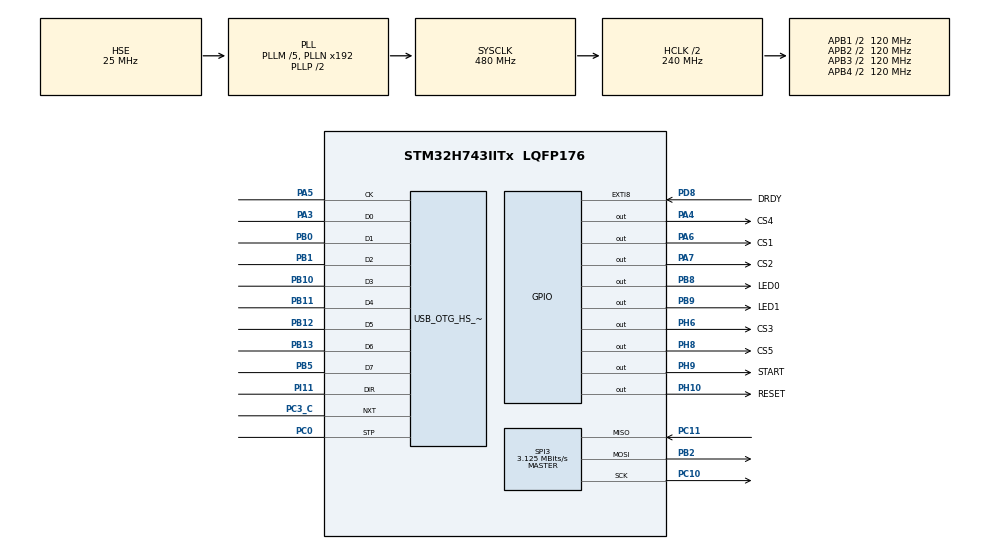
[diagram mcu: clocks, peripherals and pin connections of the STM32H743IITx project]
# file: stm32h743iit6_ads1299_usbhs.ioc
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FREERTOS.BinarySemaphores01=DATA_READY,Dynamic,NULL
FREERTOS.Events01=event,Dynamic,NULL
FREERTOS.INCLUDE_xEventGroupSetBitFromISR=1
FREERTOS.Tasks01=defaultTask,24,128,StartDefaultTask,Default,NULL,Dynamic,NULL,NULL;data_read,8,512,data_read_func,Default,NULL,Dynamic,NULL,NULL;all_reg_read,8,512,reg_read_func,Default,NULL,Dynamic,NULL,NULL;data_send,8,512,data_send_func,Default,NULL,Dynamic,NULL,NULL
Mcu.Family=STM32H7
Mcu.Name=STM32H743IITx
Mcu.Package=LQFP176
NVIC.EXTI9_5_IRQn=true\:5\:0\:true\:false\:true\:true\:true\:true\:true
NVIC.OTG_HS_IRQn=true\:5\:0\:false\:false\:true\:true\:false\:true\:true
NVIC.PriorityGroup=NVIC_PRIORITYGROUP_4
NVIC.TIM1_UP_IRQn=true\:15\:0\:false\:false\:true\:false\:false\:true\:true
NVIC.TIM6_DAC_IRQn=true\:5\:0\:false\:false\:true\:true\:true\:true\:true
NVIC.TimeBase=TIM1_UP_IRQn
NVIC.TimeBaseIP=TIM1
PA3.Mode=Device_HS
PA3.Signal=USB_OTG_HS_ULPI_D0
PA4.GPIO_Label=CS4
PA4.GPIO_PuPd=GPIO_PULLDOWN
PA4.GPIO_Speed=GPIO_SPEED_FREQ_HIGH
PA4.PinState=GPIO_PIN_SET
PA4.Signal=GPIO_Output
PA5.Mode=Device_HS
PA5.Signal=USB_OTG_HS_ULPI_CK
PA6.GPIO_Label=CS1
PA6.GPIO_PuPd=GPIO_PULLDOWN
PA6.GPIO_Speed=GPIO_SPEED_FREQ_HIGH
PA6.PinState=GPIO_PIN_SET
PA6.Signal=GPIO_Output
PA7.GPIO_Label=CS2
PA7.GPIO_ModeDefaultOutputPP=GPIO_MODE_OUTPUT_PP
PA7.GPIO_PuPd=GPIO_PULLDOWN
PA7.GPIO_Speed=GPIO_SPEED_FREQ_HIGH
PA7.PinState=GPIO_PIN_SET
PA7.Signal=GPIO_Output
PB0.Mode=Device_HS
PB0.Signal=USB_OTG_HS_ULPI_D1
PB1.Mode=Device_HS
PB1.Signal=USB_OTG_HS_ULPI_D2
PB10.Mode=Device_HS
PB10.Signal=USB_OTG_HS_ULPI_D3
PB11.Mode=Device_HS
PB11.Signal=USB_OTG_HS_ULPI_D4
PB12.Mode=Device_HS
PB12.Signal=USB_OTG_HS_ULPI_D5
PB13.Mode=Device_HS
PB13.Signal=USB_OTG_HS_ULPI_D6
PB2.GPIO_PuPd=GPIO_PULLDOWN
PB2.GPIO_Speed=GPIO_SPEED_FREQ_VERY_HIGH
PB2.Mode=Full_Duplex_Master
PB2.Signal=SPI3_MOSI
PB5.Mode=Device_HS
PB5.Signal=USB_OTG_HS_ULPI_D7
PB8.GPIO_Label=LED0
PB8.GPIO_PuPd=GPIO_PULLUP
PB8.GPIO_Speed=GPIO_SPEED_FREQ_HIGH
PB8.PinState=GPIO_PIN_SET
PB8.Signal=GPIO_Output
PB9.GPIO_Label=LED1
PB9.GPIO_PuPd=GPIO_PULLDOWN
PB9.GPIO_Speed=GPIO_SPEED_FREQ_HIGH
PB9.PinState=GPIO_PIN_SET
PB9.Signal=GPIO_Output
PC0.Mode=Device_HS
PC0.Signal=USB_OTG_HS_ULPI_STP
PC10.GPIO_PuPd=GPIO_PULLDOWN
PC10.GPIO_Speed=GPIO_SPEED_FREQ_VERY_HIGH
PC10.Mode=Full_Duplex_Master
PC10.Signal=SPI3_SCK
PC11.GPIO_PuPd=GPIO_PULLDOWN
PC11.GPIO_Speed=GPIO_SPEED_FREQ_VERY_HIGH
PC11.Mode=Full_Duplex_Master
PC11.Signal=SPI3_MISO
PC14-OSC32_IN\ (OSC32_IN).Mode=LSE-External-Oscillator
PC14-OSC32_IN\ (OSC32_IN).Signal=RCC_OSC32_IN
PC15-OSC32_OUT\ (OSC32_OUT).Mode=LSE-External-Oscillator
PC15-OSC32_OUT\ (OSC32_OUT).Signal=RCC_OSC32_OUT
PC3_C.Mode=Device_HS
PC3_C.Signal=USB_OTG_HS_ULPI_NXT
PD8.GPIO_Label=DRDY
PD8.GPIO_ModeDefaultEXTI=GPIO_MODE_IT_FALLING
PD8.GPIO_PuPd=GPIO_PULLUP
PD8.Signal=GPXTI8
PH0-OSC_IN\ (PH0).Mode=HSE-External-Oscillator
PH0-OSC_IN\ (PH0).Signal=RCC_OSC_IN
PH1-OSC_OUT\ (PH1).Mode=HSE-External-Oscillator
PH1-OSC_OUT\ (PH1).Signal=RCC_OSC_OUT
PH10.GPIO_Label=RESET
PH10.GPIO_PuPd=GPIO_PULLDOWN
PH10.GPIO_Speed=GPIO_SPEED_FREQ_HIGH
PH10.PinState=GPIO_PIN_SET
PH10.Signal=GPIO_Output
PH6.GPIO_Label=CS3
PH6.GPIO_PuPd=GPIO_PULLDOWN
PH6.GPIO_Speed=GPIO_SPEED_FREQ_HIGH
PH6.PinState=GPIO_PIN_SET
PH6.Signal=GPIO_Output
PH8.GPIO_Label=CS5
PH8.GPIO_PuPd=GPIO_PULLDOWN
PH8.GPIO_Speed=GPIO_SPEED_FREQ_HIGH
PH8.PinState=GPIO_PIN_SET
PH8.Signal=GPIO_Output
PH9.GPIO_Label=START
PH9.GPIO_PuPd=GPIO_PULLDOWN
PH9.GPIO_Speed=GPIO_SPEED_FREQ_HIGH
PH9.PinState=GPIO_PIN_RESET
PH9.Signal=GPIO_Output
PI11.Mode=Device_HS
PI11.Signal=USB_OTG_HS_ULPI_DIR
ProjectManager.HeapSize=0x400
ProjectManager.StackSize=0x400
ProjectManager.TargetToolchain=Makefile
RCC.ADCFreq_Value=200000000
RCC.APB1Freq_Value=120000000
RCC.APB2Freq_Value=120000000
RCC.APB3Freq_Value=120000000
RCC.APB4Freq_Value=120000000
RCC.CortexFreq_Value=480000000
RCC.D1PPRE=RCC_APB3_DIV2
RCC.D2PPRE1=RCC_APB1_DIV2
RCC.D2PPRE2=RCC_APB2_DIV2
RCC.D3PPRE=RCC_APB4_DIV2
RCC.DIVM1=5
RCC.DIVM2=5
RCC.DIVN1=192
RCC.DIVN2=160
RCC.DIVP2=4
RCC.DIVQ1=16
RCC.HCLKFreq_Value=240000000
RCC.HPRE=RCC_HCLK_DIV2
RCC.PLLSourceVirtual=RCC_PLLSOURCE_HSE
RCC.SPI123CLockSelection=RCC_SPI123CLKSOURCE_PLL2
RCC.SYSCLKFreq_VALUE=480000000
RCC.SYSCLKSource=RCC_SYSCLKSOURCE_PLLCLK
RCC.USBFreq_Value=60000000
SPI3.BaudRatePrescaler=SPI_BAUDRATEPRESCALER_64
SPI3.CLKPhase=SPI_PHASE_2EDGE
SPI3.CalculateBaudRate=3.125 MBits/s
SPI3.DataSize=SPI_DATASIZE_8BIT
SPI3.Direction=SPI_DIRECTION_2LINES
SPI3.Mode=SPI_MODE_MASTER
SPI3.VirtualType=VM_MASTER
TIM6.AutoReloadPreload=TIM_AUTORELOAD_PRELOAD_ENABLE
TIM6.Prescaler=240-1
USB_DEVICE.CLASS_NAME_HS=CUSTOM_HID
USB_DEVICE.VirtualMode-CUSTOM_HID_HS=CustomHid
USB_DEVICE.VirtualModeHS=Custom_Hid_HS
USB_OTG_HS.VirtualMode-Device_HS=Device_HS
VP_FREERTOS_VS_CMSIS_V2.Mode=CMSIS_V2
VP_SYS_VS_tim1.Mode=TIM1
VP_TIM6_VS_ClockSourceINT.Mode=Enable_Timer
VP_USB_DEVICE_VS_USB_DEVICE_CUSTOM_HID_HS.Mode=CUSTOM_HID_HS
board=custom

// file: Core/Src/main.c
#include "main.h"
#include "cmsis_os.h"
#include "spi.h"
#include "tim.h"
#include "usb_device.h"
#include "gpio.h"

/* USER CODE BEGIN Includes */
#include <ads1299.h>
#include <usbd_custom_hid_if.h>
#include <tim.h>
/* USER CODE END Includes */

void SystemClock_Config(void);

void MX_FREERTOS_Init(void);

/* USER CODE BEGIN 0 */
int itr_num = 0;
const uint8_t ITR_EVENT = 0x01 << 0;   // 设置事件掩码的位 0
const uint8_t CMD_EVENT = 0x01 << 1;   // 设置事件掩码的位 1
const uint8_t REG_EVENT = 0x01 << 2;   // 设置事件掩码的位 2
const uint8_t READY_EVENT = 0x01 << 3; // 设置事件掩码的位 3
const uint8_t SELF_TEST_EVENT = 0X01 << 4;
const uint8_t NORMAL_SIG_EVENT = 0X01 << 5;
/* USER CODE END 0 */

int main(void)
{

	/* MCU Configuration--------------------------------------------------------*/

	/* Reset of all peripherals, Initializes the Flash interface and the Systick. */
	HAL_Init();

	/* Configure the system clock */
	SystemClock_Config();

	/* Initialize all configured peripherals */
	MX_GPIO_Init();
	MX_SPI3_Init();
	MX_TIM6_Init();
	/* USER CODE BEGIN 2 */
	HAL_GPIO_WritePin(LED1_GPIO_Port, LED1_Pin, GPIO_PIN_RESET);
	HAL_Delay(1000);
	ads1299_check_init();
	HAL_Delay(500);
	HAL_GPIO_WritePin(LED1_GPIO_Port, LED1_Pin, GPIO_PIN_SET);

	HAL_GPIO_WritePin(START_GPIO_Port, START_Pin, GPIO_PIN_RESET);
	HAL_Delay(500);
	HAL_GPIO_WritePin(START_GPIO_Port, START_Pin, GPIO_PIN_SET);

	/* USER CODE END 2 */

	/* Init scheduler */
	osKernelInitialize(); /* Call init function for freertos objects (in freertos.c) */
	MX_FREERTOS_Init();
	/* Start scheduler */
	osKernelStart();

	/* We should never get here as control is now taken by the scheduler */
	/* Infinite loop */
	while (1)
	{

	}
}

void SystemClock_Config(void)
{
	RCC_OscInitTypeDef RCC_OscInitStruct = {0};
	RCC_ClkInitTypeDef RCC_ClkInitStruct = {0};

	/** Supply configuration update enable
	 */
	HAL_PWREx_ConfigSupply(PWR_LDO_SUPPLY);
	/** Configure the main internal regulator output voltage
	 */
	__HAL_PWR_VOLTAGESCALING_CONFIG(PWR_REGULATOR_VOLTAGE_SCALE0);

	while (!__HAL_PWR_GET_FLAG(PWR_FLAG_VOSRDY))
	{
	}
	/** Macro to configure the PLL clock source
	 */
	__HAL_RCC_PLL_PLLSOURCE_CONFIG(RCC_PLLSOURCE_HSE);
	/** Initializes the RCC Oscillators according to the specified parameters
	 * in the RCC_OscInitTypeDef structure.
	 */
	RCC_OscInitStruct.OscillatorType = RCC_OSCILLATORTYPE_HSE;
	RCC_OscInitStruct.HSEState = RCC_HSE_ON;
	RCC_OscInitStruct.PLL.PLLState = RCC_PLL_ON;
	RCC_OscInitStruct.PLL.PLLSource = RCC_PLLSOURCE_HSE;
	RCC_OscInitStruct.PLL.PLLM = 5;
	RCC_OscInitStruct.PLL.PLLN = 192;
	RCC_OscInitStruct.PLL.PLLP = 2;
	RCC_OscInitStruct.PLL.PLLQ = 16;
	RCC_OscInitStruct.PLL.PLLR = 2;
	RCC_OscInitStruct.PLL.PLLRGE = RCC_PLL1VCIRANGE_2;
	RCC_OscInitStruct.PLL.PLLVCOSEL = RCC_PLL1VCOWIDE;
	RCC_OscInitStruct.PLL.PLLFRACN = 0;
	if (HAL_RCC_OscConfig(&RCC_OscInitStruct) != HAL_OK)
	{
		Error_Handler();
	}
	/** Initializes the CPU, AHB and APB buses clocks
	 */
	RCC_ClkInitStruct.ClockType = RCC_CLOCKTYPE_HCLK | RCC_CLOCKTYPE_SYSCLK | RCC_CLOCKTYPE_PCLK1 | RCC_CLOCKTYPE_PCLK2 | RCC_CLOCKTYPE_D3PCLK1 | RCC_CLOCKTYPE_D1PCLK1;
	RCC_ClkInitStruct.SYSCLKSource = RCC_SYSCLKSOURCE_PLLCLK;
	RCC_ClkInitStruct.SYSCLKDivider = RCC_SYSCLK_DIV1;
	RCC_ClkInitStruct.AHBCLKDivider = RCC_HCLK_DIV2;
	RCC_ClkInitStruct.APB3CLKDivider = RCC_APB3_DIV2;
	RCC_ClkInitStruct.APB1CLKDivider = RCC_APB1_DIV2;
	RCC_ClkInitStruct.APB2CLKDivider = RCC_APB2_DIV2;
	RCC_ClkInitStruct.APB4CLKDivider = RCC_APB4_DIV2;

	if (HAL_RCC_ClockConfig(&RCC_ClkInitStruct, FLASH_LATENCY_4) != HAL_OK)
	{
		Error_Handler();
	}
}

void HAL_TIM_PeriodElapsedCallback(TIM_HandleTypeDef *htim)
{
	if (htim->Instance == TIM1)
	{
		HAL_IncTick();
	}
}

void Error_Handler(void)
{
	__disable_irq();
	while (1)
	{
	}
}

/************************ (C) COPYRIGHT STMicroelectronics *****END OF FILE****/

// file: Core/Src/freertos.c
/* USER CODE BEGIN Header */
/**
 ******************************************************************************
 * File Name          : freertos.c
 * Description        : Code for freertos applications
 ******************************************************************************
 * @attention
 *
 * <h2><center>&copy; Copyright (c) 2022 STMicroelectronics.
 * All rights reserved.</center></h2>
 *
 * This software component is licensed by ST under Ultimate Liberty license
 * SLA0044, the "License"; You may not use this file except in compliance with
 * the License. You may obtain a copy of the License at:
 *                             www.st.com/SLA0044
 *
 ******************************************************************************
 */
/* USER CODE END Header */

#include <tim.h>
#include "FreeRTOS.h"
#include "task.h"
#include "main.h"
#include "cmsis_os.h"

/* USER CODE BEGIN Includes */
#include "gpio.h"
#include "spi.h"
#include "ads1299.h"
#include "usbd_custom_hid_if.h"

/* USER CODE END Includes */

/* USER CODE BEGIN PTD */

/* CRC校验开关*/
#define _CRC_ 1

/* USER CODE END PTD */

/* USER CODE BEGIN PD */
extern const uint8_t ITR_EVENT;   // 璁剧疆浜嬩欢鎺╃爜鐨勪綅 0
extern const uint8_t CMD_EVENT;   // 璁剧疆浜嬩欢鎺╃爜鐨勪綅 1
extern const uint8_t REG_EVENT;   // 璁剧疆浜嬩欢鎺╃爜鐨勪綅 2
extern const uint8_t READY_EVENT; // 璁剧疆浜嬩欢鎺╃爜鐨勪綅 3
extern const uint8_t SELF_TEST_EVENT;
extern const uint8_t NORMAL_SIG_EVENT;

extern USBD_HandleTypeDef hUsbDeviceHS;
extern int itr_num;
int buffer_select_flag = 0;
const int itr_num_max = 25;

/* 存储buffer定义 */
#if _CRC_
const int send_max_size =
    (40 * 3 + 5 * 3) * itr_num_max + 1; // 40*3*itr_num_max 是数据   5*3是电极脱落检测 /* 最后一位为CRC校验码*/
uint8_t data_save_a[(40 * 3 + 5 * 3) * 25 + 1] = {0};
uint8_t data_save_b[(40 * 3 + 5 * 3) * 25 + 1] = {0};
#else
const int send_max_size = (40 * 3 + 5 * 3) * itr_num_max;
uint8_t data_save_a[(40 * 3 + 5 * 3) * 25] = {0};
uint8_t data_save_b[(40 * 3 + 5 * 3) * 25] = {0};
#endif

uint8_t send1[3] = {0XAA, 0XAA, 0XAA};
uint8_t send2[24] = {0};
/* USER CODE END PD */

/* Definitions for defaultTask */
osThreadId_t defaultTaskHandle;
const osThreadAttr_t defaultTask_attributes = {
    .name = "defaultTask",
    .stack_size = 128 * 4,
    .priority = (osPriority_t)osPriorityNormal,
};
/* Definitions for data_read */
osThreadId_t data_readHandle;
const osThreadAttr_t data_read_attributes = {
    .name = "data_read",
    .stack_size = 512 * 4,
    .priority = (osPriority_t)osPriorityLow,
};
/* Definitions for all_reg_read */
osThreadId_t all_reg_readHandle;
const osThreadAttr_t all_reg_read_attributes = {
    .name = "all_reg_read",
    .stack_size = 512 * 4,
    .priority = (osPriority_t)osPriorityLow,
};
/* Definitions for data_send */
osThreadId_t data_sendHandle;
const osThreadAttr_t data_send_attributes = {
    .name = "data_send",
    .stack_size = 512 * 4,
    .priority = (osPriority_t)osPriorityLow,
};
/* Definitions for self_test */
osThreadId_t self_testHandle;
const osThreadAttr_t self_test_attributes = {
    .name = "self_test",
    .stack_size = 128 * 4,
    .priority = (osPriority_t)osPriorityLow,
};
/* Definitions for normal_sig */
osThreadId_t normal_sigHandle;
const osThreadAttr_t normal_sig_attributes = {
    .name = "normal_sig",
    .stack_size = 128 * 4,
    .priority = (osPriority_t)osPriorityLow,
};
/* Definitions for DATA_READY */
osSemaphoreId_t DATA_READYHandle;
const osSemaphoreAttr_t DATA_READY_attributes = {
    .name = "DATA_READY"};
/* Definitions for event */
osEventFlagsId_t eventHandle;
const osEventFlagsAttr_t event_attributes = {
    .name = "event"};

_Noreturn void StartDefaultTask(void *argument);

_Noreturn void data_read_func(void *argument);

_Noreturn void reg_read_func(void *argument);

_Noreturn void data_send_func(void *argument);

_Noreturn void self_test_func(void *argument);

_Noreturn void normal_sig_func(void *argument);

extern void MX_USB_DEVICE_Init(void);

void MX_FREERTOS_Init(void); /* (MISRA C 2004 rule 8.1) */

void MX_FREERTOS_Init(void)
{

    /* Create the semaphores(s) */
    /* creation of DATA_READY */
    DATA_READYHandle = osSemaphoreNew(1, 1, &DATA_READY_attributes);

    /* Create the thread(s) */
    /* creation of defaultTask */
    defaultTaskHandle = osThreadNew(StartDefaultTask, NULL, &defaultTask_attributes);

    /* creation of data_read */
    data_readHandle = osThreadNew(data_read_func, NULL, &data_read_attributes);

    /* creation of all_reg_read */
    all_reg_readHandle = osThreadNew(reg_read_func, NULL, &all_reg_read_attributes);

    /* creation of data_send */
    data_sendHandle = osThreadNew(data_send_func, NULL, &data_send_attributes);

    /* creation of self_test */
    self_testHandle = osThreadNew(self_test_func, NULL, &self_test_attributes);

    /* creation of normal_sig */
    normal_sigHandle = osThreadNew(normal_sig_func, NULL, &normal_sig_attributes);

    /* Create the event(s) */
    /* creation of event */
    eventHandle = osEventFlagsNew(&event_attributes);

}

_Noreturn void StartDefaultTask(void *argument)
{
    /* init code for USB_DEVICE */
    MX_USB_DEVICE_Init();
    /* USER CODE BEGIN StartDefaultTask */
    /* Infinite loop */
    for (;;)
    {
        osDelay(2000);
    }
    /* USER CODE END StartDefaultTask */
}

_Noreturn void data_read_func(void *argument)
{
    /* USER CODE BEGIN data_read_func */
    /* Infinite loop */
    for (;;)
    {
        osEventFlagsWait(eventHandle, ITR_EVENT | CMD_EVENT, osFlagsNoClear | osFlagsWaitAll, osWaitForever);
        osEventFlagsClear(eventHandle, ITR_EVENT);

        if (buffer_select_flag == 0)
        {
            CS_LOW(1);
            HAL_SPI_TransmitReceive(&hspi3, send1, data_save_a + 135 * itr_num, 3, 100);
            HAL_SPI_TransmitReceive(&hspi3, send2, data_save_a + 15 + 135 * itr_num, 24, 100);
            CS_HIGH(1);

            CS_LOW(2);
            HAL_SPI_TransmitReceive(&hspi3, send1, data_save_a + 3 + 135 * itr_num, 3, 100);
            HAL_SPI_TransmitReceive(&hspi3, send2, data_save_a + 15 + 24 + 135 * itr_num, 24, 100);
            CS_HIGH(2);

            CS_LOW(3);
            HAL_SPI_TransmitReceive(&hspi3, send1, data_save_a + 6 + 135 * itr_num, 3, 100);
            HAL_SPI_TransmitReceive(&hspi3, send2, data_save_a + 15 + 48 + 135 * itr_num, 24, 100);
            CS_HIGH(3);

            CS_LOW(4);
            HAL_SPI_TransmitReceive(&hspi3, send1, data_save_a + 9 + 135 * itr_num, 3, 100);
            HAL_SPI_TransmitReceive(&hspi3, send2, data_save_a + 15 + 72 + 135 * itr_num, 24, 100);
            CS_HIGH(4);

            CS_LOW(5);
            HAL_SPI_TransmitReceive(&hspi3, send1, data_save_a + 12 + 135 * itr_num, 3, 100);
            HAL_SPI_TransmitReceive(&hspi3, send2, data_save_a + 15 + 96 + 135 * itr_num, 24, 100);
            CS_HIGH(5);

            itr_num++;

            if (itr_num == itr_num_max)
            {
#if _CRC_
                data_save_a[3375] = calcCRC(data_save_a, 3375);
#endif
                itr_num = 0;
                buffer_select_flag = 1;
                osEventFlagsSet(eventHandle, READY_EVENT);
            }
        }
        else
        {
            CS_LOW(1);
            HAL_SPI_TransmitReceive(&hspi3, send1, data_save_b + 135 * itr_num, 3, 100);
            HAL_SPI_TransmitReceive(&hspi3, send2, data_save_b + 15 + 135 * itr_num, 24, 100);
            CS_HIGH(1);

            CS_LOW(2);
            HAL_SPI_TransmitReceive(&hspi3, send1, data_save_b + 3 + 135 * itr_num, 3, 100);
            HAL_SPI_TransmitReceive(&hspi3, send2, data_save_b + 15 + 24 + 135 * itr_num, 24, 100);
            CS_HIGH(2);

            CS_LOW(3);
            HAL_SPI_TransmitReceive(&hspi3, send1, data_save_b + 6 + 135 * itr_num, 3, 100);
            HAL_SPI_TransmitReceive(&hspi3, send2, data_save_b + 15 + 48 + 135 * itr_num, 24, 100);
            CS_HIGH(3);

            CS_LOW(4);
            HAL_SPI_TransmitReceive(&hspi3, send1, data_save_b + 9 + 135 * itr_num, 3, 100);
            HAL_SPI_TransmitReceive(&hspi3, send2, data_save_b + 15 + 72 + 135 * itr_num, 24, 100);
            CS_HIGH(4);

            CS_LOW(5);
            HAL_SPI_TransmitReceive(&hspi3, send1, data_save_b + 12 + 135 * itr_num, 3, 100);
            HAL_SPI_TransmitReceive(&hspi3, send2, data_save_b + 15 + 96 + 135 * itr_num, 24, 100);
            CS_HIGH(5);

            itr_num++;

            if (itr_num == itr_num_max)
            {
#if _CRC_
                data_save_b[3375] = calcCRC(data_save_b, 3375);
#endif
                itr_num = 0;
                buffer_select_flag = 0;
                osEventFlagsSet(eventHandle, READY_EVENT);
            }
        }
    }
    /* USER CODE END data_read_func */
}

_Noreturn void reg_read_func(void *argument)
{
    /* USER CODE BEGIN reg_read_func */

    /* Infinite loop */
    for (;;)
    {
        osEventFlagsWait(eventHandle, REG_EVENT, osFlagsWaitAny, osWaitForever);
        for (int i = 1; i < 6; i++)
        {
            ads1299_send_cmd(ADS1299_SDATAC, i);
            HAL_Delay(1);
        }

        all_ads1299_reg_read();

        for (int i = 1; i < 6; i++)
        {
            ads1299_send_cmd(ADS1299_RDATAC, i);
            HAL_Delay(1);
        }
    }
    /* USER CODE END reg_read_func */
}

_Noreturn void data_send_func(void *argument)
{
    /* USER CODE BEGIN data_send_func */
    /* Infinite loop */
    for (;;)
    {
        osEventFlagsWait(eventHandle, READY_EVENT, osFlagsWaitAny, osWaitForever);
        if (buffer_select_flag == 0)
        {
            USBD_CUSTOM_HID_SendReport_HS(data_save_b, send_max_size);
        }
        else
        {
            USBD_CUSTOM_HID_SendReport_HS(data_save_a, send_max_size);
        }
    }
    /* USER CODE END data_send_func */
}

_Noreturn void self_test_func(void *argument)
{
    /* USER CODE BEGIN self_test_func */
    uint8_t reg_def = 0x65;
    /* Infinite loop */
    for (;;)
    {
        osEventFlagsWait(eventHandle, SELF_TEST_EVENT, osFlagsWaitAny, osWaitForever);
        for (int i = 1; i < 6; i++)
        {
            ads1299_send_cmd(ADS1299_SDATAC, i);
            HAL_Delay(1);
        }

        for (int j = 1; j < 6; j++)
        {
            for (int i = 0; i < 8; ++i)
            {
                ads1299_reg_write(0x05 + i, reg_def, j);
            }
        }

        for (int i = 1; i < 6; i++)
        {
            ads1299_send_cmd(ADS1299_RDATAC, i);
            HAL_Delay(1);
        }
    }
    /* USER CODE END self_test_func */
}

_Noreturn void normal_sig_func(void *argument)
{
    /* USER CODE BEGIN normal_sig_func */
    uint8_t normal_def = 0x60;
    /* Infinite loop */
    for (;;)
    {
        osEventFlagsWait(eventHandle, NORMAL_SIG_EVENT, osFlagsWaitAny, osWaitForever);
        for (int i = 1; i < 6; i++)
        {
            ads1299_send_cmd(ADS1299_SDATAC, i);
            HAL_Delay(1);
        }

        for (int j = 1; j < 6; j++)
        {
            for (int i = 0; i < 8; ++i)
            {
                ads1299_reg_write(0x05 + i, normal_def, j);
            }
        }

        for (int i = 1; i < 6; i++)
        {
            ads1299_send_cmd(ADS1299_RDATAC, i);
            HAL_Delay(1);
        }
    }
    /* USER CODE END normal_sig_func */
}
